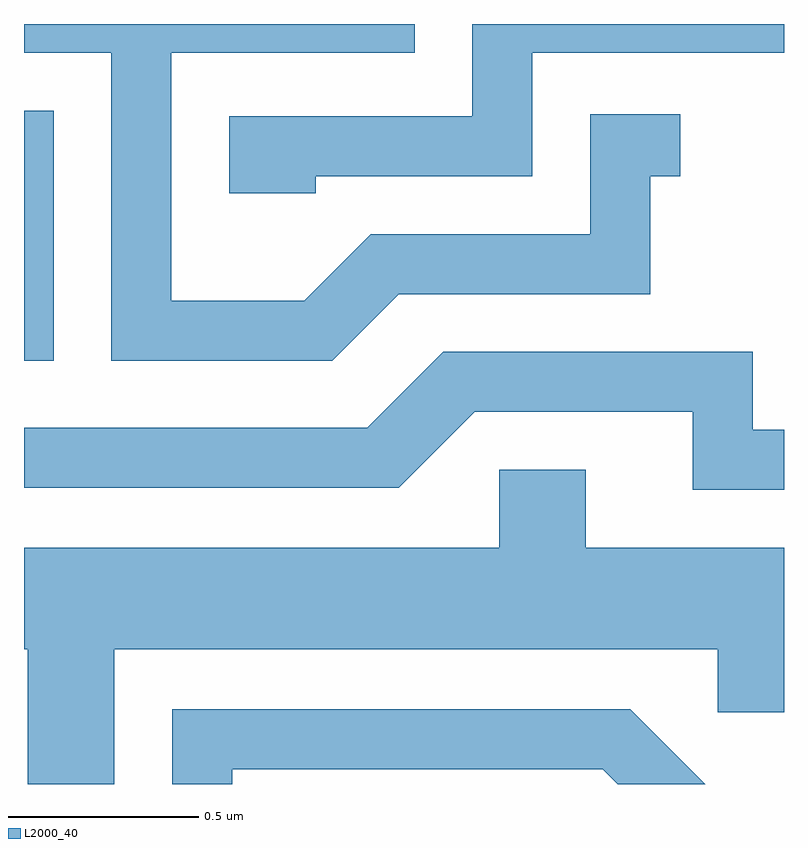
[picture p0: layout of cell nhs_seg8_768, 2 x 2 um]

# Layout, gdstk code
import gdstk
lib = gdstk.Library(unit=1e-6, precision=1e-09)
def R(c, l, rs):  # rectangles x0, y0, x1, y1
    for r in rs: c.add(gdstk.rectangle(r[:2], r[2:], *l))
def P(c, l, *ps):  # polygons
    for p in ps: c.add(gdstk.Polygon(p, *l))
L2000_40 = (2000, 40)

nhs_seg8_768 = lib.new_cell('nhs_seg8_768')
R(nhs_seg8_768, L2000_40, [(190.611,1890.456,190.689,1891.114)])
P(nhs_seg8_768, L2000_40, [(191.597,1890.631),(192.259,1890.631),(192.259,1890.941),(192.338,1890.941),(192.338,1891.104),(192.101,1891.104),(192.101,1890.789),(191.524,1890.789),(191.349,1890.614),(190.999,1890.614),(190.999,1891.266),(191.639,1891.266),(191.639,1891.342),(190.611,1891.342),(190.611,1891.266),(190.841,1891.266),(190.841,1890.456),(191.422,1890.456)],
  [(191.379,1890.941),(191.949,1890.941),(191.949,1891.266),(192.611,1891.266),(192.611,1891.342),(191.791,1891.342),(191.791,1891.099),(191.151,1891.099),(191.151,1890.896),(191.379,1890.896)],
  [(192.611,1890.274),(192.529,1890.274),(192.529,1890.479),(191.714,1890.479),(191.514,1890.279),(190.611,1890.279),(190.611,1890.121),(191.597,1890.121),(191.797,1890.321),(192.371,1890.321),(192.371,1890.116),(192.611,1890.116)],
  [(190.849,1889.696),(192.436,1889.696),(192.436,1889.531),(192.611,1889.531),(192.611,1889.964),(192.089,1889.964),(192.089,1890.169),(191.861,1890.169),(191.861,1889.964),(190.611,1889.964),(190.611,1889.696),(190.621,1889.696),(190.621,1889.342),(190.849,1889.342)],
  [(191.159,1889.381),(192.134,1889.381),(192.173,1889.342),(192.404,1889.342),(192.207,1889.539),(191.001,1889.539),(191.001,1889.342),(191.159,1889.342)])

lib.write_gds('nhs_seg8_768.gds')
